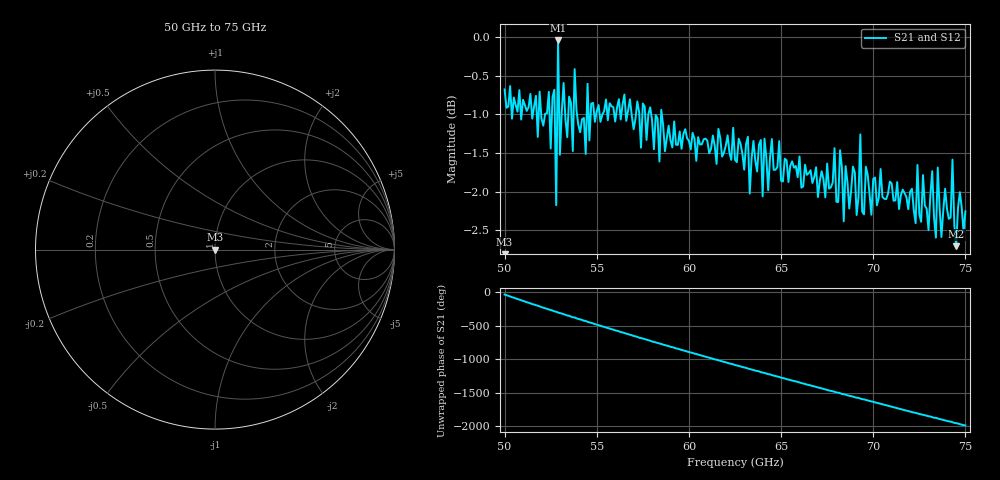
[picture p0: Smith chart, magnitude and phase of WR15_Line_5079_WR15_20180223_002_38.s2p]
# GHZ S RI R 50
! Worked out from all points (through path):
!   251 points, 50 GHz to 75 GHz, reference 50 ohm
!   highest |S21| = -0.04 dB at 52.9 GHz (marker M1); lowest = -2.7 dB at 74.5 GHz (marker M2)
!   lowest |S11| = - dB at 50 GHz (marker M3), VSWR 1.00, Z = 50 + j8.69e-16 ohm
!   |S11| at or under -10 dB: start of sweep to end of sweep
!   |S22| runs from - to - dB; largest |S21 - S12| = 1.5e-15
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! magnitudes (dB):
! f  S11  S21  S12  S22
! 50 GHz  -  -0.7  -0.7  -
! 52.4 GHz  -  -0.7  -0.7  -
! 52.5 GHz  -  -1.4  -1.4  -
! 52.7 GHz  -  -0.7  -0.7  -
! 52.8 GHz  -  -2.2  -2.2  -
! 52.9 GHz  -  0.0  0.0  -
! 53 GHz  -  -1.5  -1.5  -
! 53.2 GHz  -  -0.6  -0.6  -
! 54.2 GHz  -  -1.1  -1.1  -
! 58.4 GHz  -  -1.6  -1.6  -
! 58.5 GHz  -  -0.9  -0.9  -
! 62.5 GHz  -  -1.6  -1.6  -
! 66.7 GHz  -  -1.9  -1.9  -
! 70.9 GHz  -  -1.9  -1.9  -
! 73 GHz  -  -2.5  -2.5  -
! 73.2 GHz  -  -1.7  -1.7  -
! 73.4 GHz  -  -2.6  -2.6  -
! 73.5 GHz  -  -1.7  -1.7  -
! 73.7 GHz  -  -2.6  -2.6  -
! 74.3 GHz  -  -1.6  -1.6  -
! 74.5 GHz  -  -2.7  -2.7  -
! 75 GHz  -  -2.3  -2.3  -
